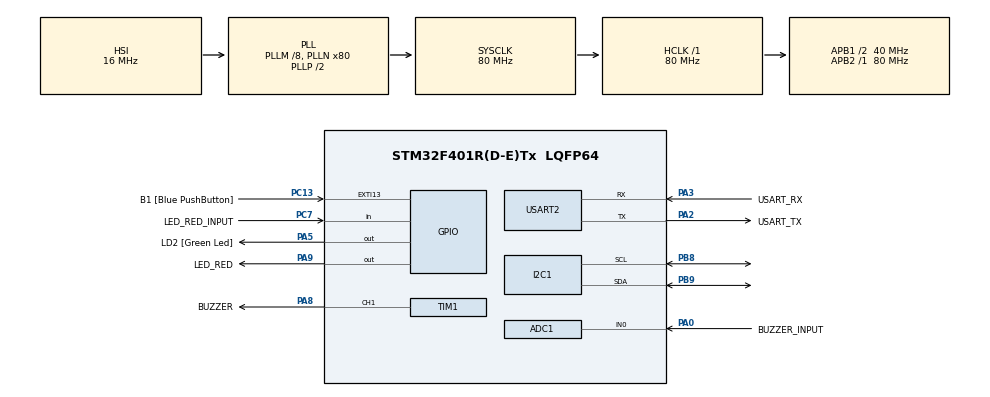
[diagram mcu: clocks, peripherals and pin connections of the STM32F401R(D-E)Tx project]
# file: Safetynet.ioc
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ADC1.Channel-0\#ChannelRegularConversion=ADC_CHANNEL_0
ADC1.NbrOfConversionFlag=1
ADC1.Rank-0\#ChannelRegularConversion=1
ADC1.SamplingTime-0\#ChannelRegularConversion=ADC_SAMPLETIME_480CYCLES
ADC1.master=1
Dma.Request0=USART2_RX
Dma.Request1=USART2_TX
Dma.USART2_RX.0.Direction=DMA_PERIPH_TO_MEMORY
Dma.USART2_RX.0.FIFOMode=DMA_FIFOMODE_DISABLE
Dma.USART2_RX.0.Instance=DMA1_Stream5
Dma.USART2_RX.0.MemDataAlignment=DMA_MDATAALIGN_BYTE
Dma.USART2_RX.0.MemInc=DMA_MINC_ENABLE
Dma.USART2_RX.0.Mode=DMA_CIRCULAR
Dma.USART2_RX.0.PeriphDataAlignment=DMA_PDATAALIGN_BYTE
Dma.USART2_RX.0.PeriphInc=DMA_PINC_DISABLE
Dma.USART2_RX.0.Priority=DMA_PRIORITY_HIGH
Dma.USART2_TX.1.Direction=DMA_MEMORY_TO_PERIPH
Dma.USART2_TX.1.FIFOMode=DMA_FIFOMODE_DISABLE
Dma.USART2_TX.1.Instance=DMA1_Stream6
Dma.USART2_TX.1.MemDataAlignment=DMA_MDATAALIGN_BYTE
Dma.USART2_TX.1.MemInc=DMA_MINC_ENABLE
Dma.USART2_TX.1.Mode=DMA_NORMAL
Dma.USART2_TX.1.PeriphDataAlignment=DMA_PDATAALIGN_BYTE
Dma.USART2_TX.1.PeriphInc=DMA_PINC_DISABLE
Dma.USART2_TX.1.Priority=DMA_PRIORITY_HIGH
IWDG.Prescaler=IWDG_PRESCALER_256
IWDG.Reload=249
Mcu.Family=STM32F4
Mcu.Name=STM32F401R(D-E)Tx
Mcu.Package=LQFP64
NVIC.DMA1_Stream5_IRQn=true\:0\:0\:false\:false\:true\:false\:true\:true
NVIC.DMA1_Stream6_IRQn=true\:0\:0\:false\:false\:true\:false\:true\:true
NVIC.PriorityGroup=NVIC_PRIORITYGROUP_4
NVIC.TIM2_IRQn=true\:0\:0\:false\:false\:true\:true\:true\:true
NVIC.USART2_IRQn=true\:0\:0\:false\:false\:true\:true\:true\:true
PA0-WKUP.GPIO_Label=BUZZER_INPUT
PA0-WKUP.Signal=SharedAnalog_PA0
PA13.GPIO_Label=TMS
PA13.Mode=Trace_Asynchronous_SW
PA13.Signal=SYS_JTMS-SWDIO
PA14.GPIO_Label=TCK
PA14.Mode=Trace_Asynchronous_SW
PA14.Signal=SYS_JTCK-SWCLK
PA2.GPIO_Label=USART_TX
PA2.GPIO_Mode=GPIO_MODE_AF_PP
PA2.GPIO_PuPd=GPIO_NOPULL
PA2.GPIO_Speed=GPIO_SPEED_FREQ_LOW
PA2.Mode=Asynchronous
PA2.Signal=USART2_TX
PA3.GPIO_Label=USART_RX
PA3.GPIO_Mode=GPIO_MODE_AF_PP
PA3.GPIO_PuPd=GPIO_NOPULL
PA3.GPIO_Speed=GPIO_SPEED_FREQ_LOW
PA3.Mode=Asynchronous
PA3.Signal=USART2_RX
PA5.GPIO_Label=LD2 [Green Led]
PA5.GPIO_Mode=GPIO_MODE_OUTPUT_PP
PA5.GPIO_PuPd=GPIO_NOPULL
PA5.GPIO_Speed=GPIO_SPEED_FREQ_LOW
PA5.Signal=GPIO_Output
PA8.GPIO_Label=BUZZER
PA8.Signal=S_TIM1_CH1
PA9.GPIO_Label=LED_RED
PA9.GPIO_ModeDefaultOutputPP=GPIO_MODE_OUTPUT_OD
PA9.GPIO_PuPd=GPIO_NOPULL
PA9.Signal=GPIO_Output
PB3.GPIO_Label=SWO
PB3.Mode=Trace_Asynchronous_SW
PB3.Signal=SYS_JTDO-SWO
PB8.Mode=I2C
PB8.Signal=I2C1_SCL
PB9.Mode=I2C
PB9.Signal=I2C1_SDA
PC13-ANTI_TAMP.GPIO_Label=B1 [Blue PushButton]
PC13-ANTI_TAMP.GPIO_ModeDefaultEXTI=GPIO_MODE_IT_FALLING
PC13-ANTI_TAMP.GPIO_PuPd=GPIO_NOPULL
PC13-ANTI_TAMP.Signal=GPXTI13
PC14-OSC32_IN.Mode=LSE-External-Oscillator
PC14-OSC32_IN.Signal=RCC_OSC32_IN
PC15-OSC32_OUT.Mode=LSE-External-Oscillator
PC15-OSC32_OUT.Signal=RCC_OSC32_OUT
PC7.GPIO_Label=LED_RED_INPUT
PC7.GPIO_PuPd=GPIO_PULLDOWN
PC7.Signal=GPIO_Input
PH0\ -\ OSC_IN.Mode=HSE-External-Clock-Source
PH0\ -\ OSC_IN.Signal=RCC_OSC_IN
PH1\ -\ OSC_OUT.Mode=HSE-External-Clock-Source
PH1\ -\ OSC_OUT.Signal=RCC_OSC_OUT
ProjectManager.HeapSize=0x400
ProjectManager.StackSize=0x800
ProjectManager.TargetToolchain=MDK-ARM V5.32
RCC.48MHZClocksFreq_Value=22857142.85714286
RCC.AHBFreq_Value=80000000
RCC.APB1CLKDivider=RCC_HCLK_DIV2
RCC.APB1Freq_Value=40000000
RCC.APB1TimFreq_Value=80000000
RCC.APB2Freq_Value=80000000
RCC.APB2TimFreq_Value=80000000
RCC.CortexFreq_Value=80000000
RCC.HCLKFreq_Value=80000000
RCC.HSE_VALUE=8000000
RCC.HSI_VALUE=16000000
RCC.PLLM=8
RCC.PLLN=80
RCC.PLLQ=7
RCC.SYSCLKFreq_VALUE=80000000
RCC.SYSCLKSource=RCC_SYSCLKSOURCE_PLLCLK
RCC.VCOOutputFreq_Value=160000000
SH.S_TIM1_CH1.0=TIM1_CH1,PWM Generation1 CH1
SH.SharedAnalog_PA0.0=GPIO_Analog
SH.SharedAnalog_PA0.1=ADC1_IN0,IN0
TIM1.Channel-PWM\ Generation1\ CH1=TIM_CHANNEL_1
TIM1.Period=7999
TIM1.Prescaler=79
TIM2.Period=99
TIM2.Prescaler=7999
USART2.VirtualMode=VM_ASYNC
VP_IWDG_VS_IWDG.Mode=IWDG_Activate
VP_TIM2_VS_ClockSourceINT.Mode=Internal
board=NUCLEO-F401RE

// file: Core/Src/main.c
/* USER CODE BEGIN Header */
/**
  ******************************************************************************
  * @file           : main.c
  * @brief          : Main program body
  ******************************************************************************
  * @attention
  *
  * Copyright (c) 2025 STMicroelectronics.
  * All rights reserved.
  *
  * This software is licensed under terms that can be found in the LICENSE file
  * in the root directory of this software component.
  * If no LICENSE file comes with this software, it is provided AS-IS.
  *
  ******************************************************************************
  */
/* USER CODE END Header */
#include "main.h"

/* USER CODE BEGIN Includes */
#include <stdio.h>
#include <string.h>
#include <stdbool.h>
#include "LED/LED.h"
#include "BUZZER/BUZZER.h"
#include "PCF8591T/PCF8591T.h"

#include <math.h>
/* USER CODE END Includes */

/* USER CODE BEGIN PTD */

// Define a function pointer type for command handler functions.
// These functions will process the payload of a received command.
typedef void (*CommandHandler)(uint8_t *data, uint16_t length);

// Struct to map a command code to its corresponding handler function.
typedef struct {
    uint8_t command;      // The command code (e.g., CMD_TOGGLE)
    CommandHandler handler; // Pointer to the function that handles this command
} CommandEntry;

// Enum for the UART reception state machine.
// This helps in parsing incoming data streams byte-by-byte.
typedef enum {
    ST_WAIT_SOF,  // Waiting for the Start of Frame (SOF) byte
    ST_WAIT_LEN,  // Waiting for the length byte
    ST_WAIT_BODY  // Waiting for the frame body (payload and CRC)
} RxParseState;

/* USER CODE END PTD */

/* USER CODE BEGIN PD */

// --- UART DMA Buffer Sizes ---
#define DMA_RX_BUF_SIZE 128
#define TX_BUF_SIZE     128
#define MAX_FRAME_LEN   64

// --- Protocol Defines ---
#define SOF_BYTE       0x7E // Start of Frame
#define TYPE_REQ       0x00 // 요청(Request) 타입
#define TYPE_RSP       0x01 // 응답(Response) 타입

// --- Command Codes ---
#define CMD_TOGGLE     0x10 // LED/Buzzer 토글 명령
#define CMD_CHK        0x11 // 주변장치 상태 확인 명령
#define CMD_IWDG_REQ   0x12 // IWDG 리셋 테스트 요청 명령

#define RX_BUF_SIZE 64

/* USER CODE END PD */

ADC_HandleTypeDef hadc1;

I2C_HandleTypeDef hi2c1;

IWDG_HandleTypeDef hiwdg;

TIM_HandleTypeDef htim1;
TIM_HandleTypeDef htim2;

UART_HandleTypeDef huart2;
DMA_HandleTypeDef hdma_usart2_rx;
DMA_HandleTypeDef hdma_usart2_tx;

/* USER CODE BEGIN PV */

// --- UART DMA Buffers ---
uint8_t dmaRxBuf[DMA_RX_BUF_SIZE];
uint8_t txBuf[TX_BUF_SIZE];
volatile uint16_t dmaRxHead = 0;

// --- Protocol-related Variables ---
static uint8_t rx_buf[MAX_FRAME_LEN]; // 수신된 프레임 데이터 저장 버퍼
static uint8_t rx_len = 0, rx_pos = 0;
static RxParseState rx_state = ST_WAIT_SOF;

// --- 'CHK' Command State Flags ---
static bool chk_pending = false;       // CHK 응답 전송이 대기 중인지 여부
static uint8_t chk_seq_pending;        // CHK 요청의 sequence number
static bool chk_led_done = false;      // LED 확인 완료 여부
static bool chk_buzzer_done = false;   // Buzzer 확인 완료 여부
static bool chk_temp_done = false;     // 온도 센서 확인 완료 여부
static bool chk_cds_done = false;      // 조도 센서 확인 완료 여부

// --- System Health & IWDG ---
volatile bool system_healthy = false;     // 시스템이 정상 동작 중인지 여부 (TIM2 콜백에서 주기적으로 set)
volatile bool iwdg_reset_requested = false; // 외부로부터 IWDG 리셋 요청 여부

/* USER CODE END PV */

void SystemClock_Config(void);
static void MX_GPIO_Init(void);
static void MX_DMA_Init(void);
static void MX_USART2_UART_Init(void);
static void MX_I2C1_Init(void);
static void MX_ADC1_Init(void);
static void MX_TIM1_Init(void);
static void MX_TIM2_Init(void);
static void MX_IWDG_Init(void);
/* USER CODE BEGIN PFP */
int fputc(int ch, FILE *f); // Function to redirect printf output to UART

// HAL Callbacks
void HAL_TIM_PeriodElapsedCallback(TIM_HandleTypeDef *htim); // Called when a timer period elapses
void HAL_UART_RxCpltCallback(UART_HandleTypeDef *huart);     // Called when UART reception is complete (not used here, using IDLE line instead)

// Command Handlers
void handle_toggle(uint8_t *data, uint16_t length);   // Handler for the TOGGLE command
void handle_chk(uint8_t *data, uint16_t length);       // Handler for the CHK command
void handle_iwdg_req(uint8_t *data, uint16_t length);  // Handler for the IWDG_REQ command

void process_received_data(uint8_t *data, uint16_t length); //test

// Protocol and Communication Functions
void start_uart_dma_rx(void); // Initializes and starts UART DMA reception with IDLE line detection
static void send_frame(uint8_t cmd, uint8_t seq, uint8_t type, const uint8_t *data, uint8_t data_len); // Constructs and sends a data frame

/* USER CODE END PFP */

/* USER CODE BEGIN 0 */
int fputc(int ch, FILE *f)
{
	uint8_t temp[1] ={ch};

	 //HAL_UART_Transmit (&huart2, temp,1,2);
	//HAL_UART_Transmit_DMA(&huart2, &temp, 1);
	return (ch);
}

/**
 * @brief  Tries to send the response for the CHK command.
 * @note   This function is called by the 'on_chk_..._done' callbacks. It checks if all
 * peripheral checks are complete. If so, it assembles the payload and sends
 * the response frame.
 */
void try_send_chk_rsp(void) {
    if (!chk_pending) return;
    if (!(chk_led_done && chk_buzzer_done && chk_temp_done && chk_cds_done)) return;

    // All checks are done, prepare the payload
    uint8_t payload[1+1+2+4]; // Payload: LED(1) + Buzzer(1) + CDS(2) + Temp(4)
    uint8_t *p = payload;

    *p++ = LED_GetCheckResult();
    *p++ = BUZZER_GetCheckResult();
    uint16_t cds = CDS_GetCheckResult();
    *p++ = cds & 0xFF;
    *p++ = (cds >> 8) & 0xFF;
    float temp = TEMP_GetCheckResult();
    memcpy(p, &temp, sizeof(temp));

    send_frame(CMD_CHK, chk_seq_pending, TYPE_RSP, payload, sizeof(payload));
    chk_pending = false;
}

// --- Callbacks for asynchronous peripheral checks ---
void on_chk_led_done(void)    { chk_led_done = true; try_send_chk_rsp(); }
void on_chk_buzzer_done(void) { chk_buzzer_done = true; try_send_chk_rsp(); }
void on_chk_temp_done(void)   { chk_temp_done = true; try_send_chk_rsp(); }
void on_chk_cds_done(void)    { chk_cds_done = true; try_send_chk_rsp(); }

/**
 * @brief  TIM period elapsed callback.
 * @note   This function is called by the HAL when a timer (here, TIM2) overflows.
 * It's used for periodic tasks.
 */
void HAL_TIM_PeriodElapsedCallback(TIM_HandleTypeDef *htim) {
    if (htim->Instance == TIM2) { // Check if it's the TIM2 interrupt

        // Call the timer-based processing functions for each peripheral module
        CDS_TimerCallback();
        TEMP_TimerCallback();
        LED_TimerCallback();
        BUZZER_TimerCallback();

        // If an IWDG reset is not pending, set the system_healthy flag.
        // This flag signals to the main loop that it's safe to refresh the watchdog.
        if (!iwdg_reset_requested) {
            system_healthy = true;
        }
    }
}

// Command dispatch table: maps command codes to their handler functions.
CommandEntry cmd_table[] = {
    { CMD_TOGGLE, handle_toggle },
    { CMD_CHK, handle_chk },
		 { CMD_IWDG_REQ, handle_iwdg_req }
};

/**
 * @brief  Handles the CMD_TOGGLE command.
 * @note   Toggles the LED, runs a buzzer sweep, and sends an acknowledgment response.
 */
void handle_toggle(uint8_t *data, uint16_t length) {
    LED_ProcessCommand("led toggle");
    BUZZER_ProcessCommand("buzz sweep");

	  uint8_t seq = rx_buf[1];
    uint8_t ack[] = { 0x01 };
    send_frame(CMD_TOGGLE, seq, TYPE_RSP, ack, sizeof(ack));

}

/**
 * @brief  Handles the CMD_CHK command.
 * @note   Initiates asynchronous checks for all peripherals and sets up callbacks.
 * The actual response is sent later by try_send_chk_rsp().
 */
void handle_chk(uint8_t *data, uint16_t length) {
    chk_led_done = chk_buzzer_done = chk_temp_done = chk_cds_done = false;

    LED_SetCheckDoneCallback(on_chk_led_done);
    BUZZER_SetCheckDoneCallback(on_chk_buzzer_done);
    TEMP_SetCheckDoneCallback(on_chk_temp_done);
    CDS_SetCheckDoneCallback(on_chk_cds_done);

    LED_ProcessCommand("led chk");
    BUZZER_ProcessCommand("buzz chk");
    TEMP_ProcessCommand("temp chk");
    CDS_ProcessCommand("cds chk");

    chk_seq_pending = rx_buf[1];
    chk_pending = true;
}

/**
 * @brief  Handles the CMD_IWDG_REQ command.
 * @note   Sets a flag to stop refreshing the IWDG, which will cause a system reset.
 * Sends an ACK before the reset occurs.
 */
void handle_iwdg_req(uint8_t *data, uint16_t length) {
    // Set flags to initiate the watchdog reset sequence in the main loop
    iwdg_reset_requested = true;
    system_healthy = false;

	  uint8_t seq = rx_buf[1];
    uint8_t ack[] = { 0x01 };
    send_frame(CMD_IWDG_REQ, seq, TYPE_RSP, ack, sizeof(ack));

}
/**
 * @brief  Initializes UART DMA reception with Idle Line interrupt.
 */
void start_uart_dma_rx(void) {
    // Clear the IDLE flag and enable the IDLE interrupt
    __HAL_UART_CLEAR_IDLEFLAG(&huart2);
    __HAL_UART_ENABLE_IT(&huart2, UART_IT_IDLE);

    // Start receiving data into the DMA buffer
    HAL_UART_Receive_DMA(&huart2, dmaRxBuf, DMA_RX_BUF_SIZE);
}

void process_received_data(uint8_t *data, uint16_t length) {
    if (length < 1) return;
    uint8_t cmd = data[0];
    for (int i = 0; i < sizeof(cmd_table)/sizeof(cmd_table[0]); i++) {
        if (cmd_table[i].command == cmd) {
            cmd_table[i].handler(&data[1], length - 1);
            return;
        }
    }
    snprintf((char *)txBuf, TX_BUF_SIZE, "UNKNOWN CMD: 0x%02X\r\n", cmd);
    HAL_UART_Transmit_DMA(&huart2, txBuf, strlen((char *)txBuf));
}

/**
 * @brief  Calculates the CRC-16 (Modbus) for a given buffer.
 * @param  buf Pointer to the data buffer.
 * @param  len Length of the data.
 * @retval The calculated 16-bit CRC value.
 */
static uint16_t calc_crc16(const uint8_t *buf, uint16_t len) {
    uint16_t crc = 0xFFFF;
    for (uint16_t i = 0; i < len; ++i) {
        crc ^= buf[i];
        for (uint8_t b = 0; b < 8; ++b) {
            if (crc & 1) crc = (crc >> 1) ^ 0xA001;
            else         crc >>= 1;
        }
    }
    return crc;
}

/**
 * @brief  Constructs a complete frame and sends it over UART using DMA.
 * @param  cmd The command code.
 * @param  seq The sequence number.
 * @param  type The frame type (Request or Response).
 * @param  data Pointer to the payload data.
 * @param  data_len Length of the payload data.
 */
static void send_frame(uint8_t cmd, uint8_t seq, uint8_t type,
                       const uint8_t *data, uint8_t data_len)
{
    uint8_t frame[1+1+1+1+1+data_len+2];
    uint8_t *p = frame;

    *p++ = SOF_BYTE;
    *p++ = (1+1+1+data_len+2);  // LEN = CMD+SEQ+TYPE+DATA+CRC
    *p++ = cmd;
    *p++ = seq;
    *p++ = type;
    if (data_len) {
        memcpy(p, data, data_len);
        p += data_len;
    }
    uint16_t crc = calc_crc16(&frame[2], 3 + data_len);
    *p++ = crc & 0xFF;
    *p++ = (crc >> 8) & 0xFF;

    HAL_UART_Transmit_DMA(&huart2, frame, p - frame);
}

/**
 * @brief  Parses a single byte from the UART stream using a state machine.
 * @note   This function is called from the UART ISR when data arrives.
 * When a complete, valid frame is received, it dispatches the command.
 */
void parse_byte(uint8_t b) {
    switch (rx_state) {
    case ST_WAIT_SOF:
        if (b == SOF_BYTE) {
            rx_state = ST_WAIT_LEN;
        }
        break;
    case ST_WAIT_LEN:
        rx_len  = b;
        rx_pos  = 0;
        rx_state = ST_WAIT_BODY;
        break;
    case ST_WAIT_BODY:
        if (rx_pos < rx_len && rx_pos < MAX_FRAME_LEN) {
            rx_buf[rx_pos++] = b;
        }
        if (rx_pos == rx_len) {
            // ?? ??
            uint16_t recv_crc = rx_buf[rx_len-2] | (rx_buf[rx_len-1] << 8);
            uint16_t calc     = calc_crc16(rx_buf, rx_len-2);
            if (recv_crc == calc) {
                uint8_t cmd  = rx_buf[0];
                uint8_t seq  = rx_buf[1];
                uint8_t type = rx_buf[2];
                uint8_t *data = &rx_buf[3];
                uint8_t data_len = rx_len - (1+1+1+2);

                if (type == TYPE_REQ) {
                    // ?? ??
                    if (cmd == CMD_TOGGLE) {
                        handle_toggle(data, data_len);
                    } else if (cmd == CMD_CHK) {
                        handle_chk(data, data_len);
                    } else if (cmd == CMD_IWDG_REQ){
												handle_iwdg_req(data, data_len);
										}
                }
            }
            // ?? ???
            rx_state = ST_WAIT_SOF;
        }
        break;
    }
}

/* USER CODE END 0 */

int main(void)
{

  /* MCU Configuration--------------------------------------------------------*/

  /* Reset of all peripherals, Initializes the Flash interface and the Systick. */
  HAL_Init();

  /* Configure the system clock */
  SystemClock_Config();

  /* Initialize all configured peripherals */
  MX_GPIO_Init();
  MX_DMA_Init();
  MX_USART2_UART_Init();
  MX_I2C1_Init();
  MX_ADC1_Init();
  MX_TIM1_Init();
  MX_TIM2_Init();
  MX_IWDG_Init();
  /* USER CODE BEGIN 2 */

	// printf("STM32 ready. Type 'hi' from PC.\r\n");

  // Initialize custom peripheral drivers
	LED_Init();
	BUZZER_Init();

  // Start TIM2 in interrupt mode for periodic tasks (e.g., watchdog feeding)
	HAL_TIM_Base_Start_IT(&htim2);

  // Start TIM1 PWM for the buzzer
	HAL_TIM_PWM_Start(&htim1, TIM_CHANNEL_1);

	// Start UART DMA reception
  start_uart_dma_rx();

  /* USER CODE END 2 */

  /* Infinite loop */
  /* USER CODE BEGIN WHILE */
  while (1)
  {
    // This logic handles the Independent Watchdog (IWDG).
    if (iwdg_reset_requested) {
        // If an IWDG reset has been requested via UART command:
        // - Enter a fast-blinking loop.
        // - Do NOT refresh the IWDG.
        // - This will cause the IWDG to time out and reset the MCU.
        HAL_GPIO_TogglePin(GPIOA, GPIO_PIN_5); // On-board LED
        HAL_Delay(200);
    } else {
        // Normal operation:
        // - Blink the LED at a slower rate to indicate normal functioning.
        HAL_GPIO_TogglePin(GPIOA, GPIO_PIN_5);
        HAL_Delay(500);

        // Check the health flag, which is set by the TIM2 interrupt.
        if (system_healthy) {
            HAL_IWDG_Refresh(&hiwdg); // Refresh (pet) the watchdog
            system_healthy = false;   // Clear the flag until the next timer tick
        }
    }
    /* USER CODE END WHILE */

  }
}

void SystemClock_Config(void)
{
  RCC_OscInitTypeDef RCC_OscInitStruct = {0};
  RCC_ClkInitTypeDef RCC_ClkInitStruct = {0};

  /** Configure the main internal regulator output voltage
  */
  __HAL_RCC_PWR_CLK_ENABLE();
  __HAL_PWR_VOLTAGESCALING_CONFIG(PWR_REGULATOR_VOLTAGE_SCALE2);

  /** Initializes the RCC Oscillators according to the specified parameters
  * in the RCC_OscInitTypeDef structure.
  */
  RCC_OscInitStruct.OscillatorType = RCC_OSCILLATORTYPE_HSI|RCC_OSCILLATORTYPE_LSI;
  RCC_OscInitStruct.HSIState = RCC_HSI_ON;
  RCC_OscInitStruct.HSICalibrationValue = RCC_HSICALIBRATION_DEFAULT;
  RCC_OscInitStruct.LSIState = RCC_LSI_ON;
  RCC_OscInitStruct.PLL.PLLState = RCC_PLL_ON;
  RCC_OscInitStruct.PLL.PLLSource = RCC_PLLSOURCE_HSI;
  RCC_OscInitStruct.PLL.PLLM = 8;
  RCC_OscInitStruct.PLL.PLLN = 80;
  RCC_OscInitStruct.PLL.PLLP = RCC_PLLP_DIV2;
  RCC_OscInitStruct.PLL.PLLQ = 7;
  if (HAL_RCC_OscConfig(&RCC_OscInitStruct) != HAL_OK)
  {
    Error_Handler();
  }

  /** Initializes the CPU, AHB and APB buses clocks
  */
  RCC_ClkInitStruct.ClockType = RCC_CLOCKTYPE_HCLK|RCC_CLOCKTYPE_SYSCLK
                              |RCC_CLOCKTYPE_PCLK1|RCC_CLOCKTYPE_PCLK2;
  RCC_ClkInitStruct.SYSCLKSource = RCC_SYSCLKSOURCE_PLLCLK;
  RCC_ClkInitStruct.AHBCLKDivider = RCC_SYSCLK_DIV1;
  RCC_ClkInitStruct.APB1CLKDivider = RCC_HCLK_DIV2;
  RCC_ClkInitStruct.APB2CLKDivider = RCC_HCLK_DIV1;

  if (HAL_RCC_ClockConfig(&RCC_ClkInitStruct, FLASH_LATENCY_2) != HAL_OK)
  {
    Error_Handler();
  }
}

static void MX_ADC1_Init(void)
{

  ADC_ChannelConfTypeDef sConfig = {0};

  /** Configure the global features of the ADC (Clock, Resolution, Data Alignment and number of conversion)
  */
  hadc1.Instance = ADC1;
  hadc1.Init.ClockPrescaler = ADC_CLOCK_SYNC_PCLK_DIV4;
  hadc1.Init.Resolution = ADC_RESOLUTION_12B;
  hadc1.Init.ScanConvMode = DISABLE;
  hadc1.Init.ContinuousConvMode = DISABLE;
  hadc1.Init.DiscontinuousConvMode = DISABLE;
  hadc1.Init.ExternalTrigConvEdge = ADC_EXTERNALTRIGCONVEDGE_NONE;
  hadc1.Init.ExternalTrigConv = ADC_SOFTWARE_START;
  hadc1.Init.DataAlign = ADC_DATAALIGN_RIGHT;
  hadc1.Init.NbrOfConversion = 1;
  hadc1.Init.DMAContinuousRequests = DISABLE;
  hadc1.Init.EOCSelection = ADC_EOC_SINGLE_CONV;
  if (HAL_ADC_Init(&hadc1) != HAL_OK)
  {
    Error_Handler();
  }

  /** Configure for the selected ADC regular channel its corresponding rank in the sequencer and its sample time.
  */
  sConfig.Channel = ADC_CHANNEL_0;
  sConfig.Rank = 1;
  sConfig.SamplingTime = ADC_SAMPLETIME_480CYCLES;
  if (HAL_ADC_ConfigChannel(&hadc1, &sConfig) != HAL_OK)
  {
    Error_Handler();
  }

}

static void MX_I2C1_Init(void)
{

  hi2c1.Instance = I2C1;
  hi2c1.Init.ClockSpeed = 100000;
  hi2c1.Init.DutyCycle = I2C_DUTYCYCLE_2;
  hi2c1.Init.OwnAddress1 = 0;
  hi2c1.Init.AddressingMode = I2C_ADDRESSINGMODE_7BIT;
  hi2c1.Init.DualAddressMode = I2C_DUALADDRESS_DISABLE;
  hi2c1.Init.OwnAddress2 = 0;
  hi2c1.Init.GeneralCallMode = I2C_GENERALCALL_DISABLE;
  hi2c1.Init.NoStretchMode = I2C_NOSTRETCH_DISABLE;
  if (HAL_I2C_Init(&hi2c1) != HAL_OK)
  {
    Error_Handler();
  }

}

static void MX_IWDG_Init(void)
{

  hiwdg.Instance = IWDG;
  hiwdg.Init.Prescaler = IWDG_PRESCALER_256;
  hiwdg.Init.Reload = 249;
  if (HAL_IWDG_Init(&hiwdg) != HAL_OK)
  {
    Error_Handler();
  }

}

static void MX_TIM1_Init(void)
{

  TIM_MasterConfigTypeDef sMasterConfig = {0};
  TIM_OC_InitTypeDef sConfigOC = {0};
  TIM_BreakDeadTimeConfigTypeDef sBreakDeadTimeConfig = {0};

  htim1.Instance = TIM1;
  htim1.Init.Prescaler = 79;
  htim1.Init.CounterMode = TIM_COUNTERMODE_UP;
  htim1.Init.Period = 7999;
  htim1.Init.ClockDivision = TIM_CLOCKDIVISION_DIV1;
  htim1.Init.RepetitionCounter = 0;
  htim1.Init.AutoReloadPreload = TIM_AUTORELOAD_PRELOAD_DISABLE;
  if (HAL_TIM_PWM_Init(&htim1) != HAL_OK)
  {
    Error_Handler();
  }
  sMasterConfig.MasterOutputTrigger = TIM_TRGO_RESET;
  sMasterConfig.MasterSlaveMode = TIM_MASTERSLAVEMODE_DISABLE;
  if (HAL_TIMEx_MasterConfigSynchronization(&htim1, &sMasterConfig) != HAL_OK)
  {
    Error_Handler();
  }
  sConfigOC.OCMode = TIM_OCMODE_PWM1;
  sConfigOC.Pulse = 0;
  sConfigOC.OCPolarity = TIM_OCPOLARITY_HIGH;
  sConfigOC.OCNPolarity = TIM_OCNPOLARITY_HIGH;
  sConfigOC.OCFastMode = TIM_OCFAST_DISABLE;
  sConfigOC.OCIdleState = TIM_OCIDLESTATE_RESET;
  sConfigOC.OCNIdleState = TIM_OCNIDLESTATE_RESET;
  if (HAL_TIM_PWM_ConfigChannel(&htim1, &sConfigOC, TIM_CHANNEL_1) != HAL_OK)
  {
    Error_Handler();
  }
  sBreakDeadTimeConfig.OffStateRunMode = TIM_OSSR_DISABLE;
  sBreakDeadTimeConfig.OffStateIDLEMode = TIM_OSSI_DISABLE;
  sBreakDeadTimeConfig.LockLevel = TIM_LOCKLEVEL_OFF;
  sBreakDeadTimeConfig.DeadTime = 0;
  sBreakDeadTimeConfig.BreakState = TIM_BREAK_DISABLE;
  sBreakDeadTimeConfig.BreakPolarity = TIM_BREAKPOLARITY_HIGH;
  sBreakDeadTimeConfig.AutomaticOutput = TIM_AUTOMATICOUTPUT_DISABLE;
  if (HAL_TIMEx_ConfigBreakDeadTime(&htim1, &sBreakDeadTimeConfig) != HAL_OK)
  {
    Error_Handler();
  }
  HAL_TIM_MspPostInit(&htim1);

}

static void MX_TIM2_Init(void)
{

  TIM_ClockConfigTypeDef sClockSourceConfig = {0};
  TIM_MasterConfigTypeDef sMasterConfig = {0};

  htim2.Instance = TIM2;
  htim2.Init.Prescaler = 7999;
  htim2.Init.CounterMode = TIM_COUNTERMODE_UP;
  htim2.Init.Period = 99;
  htim2.Init.ClockDivision = TIM_CLOCKDIVISION_DIV1;
  htim2.Init.AutoReloadPreload = TIM_AUTORELOAD_PRELOAD_DISABLE;
  if (HAL_TIM_Base_Init(&htim2) != HAL_OK)
  {
    Error_Handler();
  }
  sClockSourceConfig.ClockSource = TIM_CLOCKSOURCE_INTERNAL;
  if (HAL_TIM_ConfigClockSource(&htim2, &sClockSourceConfig) != HAL_OK)
  {
    Error_Handler();
  }
  sMasterConfig.MasterOutputTrigger = TIM_TRGO_RESET;
  sMasterConfig.MasterSlaveMode = TIM_MASTERSLAVEMODE_DISABLE;
  if (HAL_TIMEx_MasterConfigSynchronization(&htim2, &sMasterConfig) != HAL_OK)
  {
    Error_Handler();
  }

}

static void MX_USART2_UART_Init(void)
{

  huart2.Instance = USART2;
  huart2.Init.BaudRate = 115200;
  huart2.Init.WordLength = UART_WORDLENGTH_8B;
  huart2.Init.StopBits = UART_STOPBITS_1;
  huart2.Init.Parity = UART_PARITY_NONE;
  huart2.Init.Mode = UART_MODE_TX_RX;
  huart2.Init.HwFlowCtl = UART_HWCONTROL_NONE;
  huart2.Init.OverSampling = UART_OVERSAMPLING_16;
  if (HAL_UART_Init(&huart2) != HAL_OK)
  {
    Error_Handler();
  }

}

static void MX_DMA_Init(void)
{

  /* DMA controller clock enable */
  __HAL_RCC_DMA1_CLK_ENABLE();

  /* DMA interrupt init */
  /* DMA1_Stream5_IRQn interrupt configuration */
  HAL_NVIC_SetPriority(DMA1_Stream5_IRQn, 0, 0);
  HAL_NVIC_EnableIRQ(DMA1_Stream5_IRQn);
  /* DMA1_Stream6_IRQn interrupt configuration */
  HAL_NVIC_SetPriority(DMA1_Stream6_IRQn, 0, 0);
  HAL_NVIC_EnableIRQ(DMA1_Stream6_IRQn);

}

static void MX_GPIO_Init(void)
{
  GPIO_InitTypeDef GPIO_InitStruct = {0};

  /* GPIO Ports Clock Enable */
  __HAL_RCC_GPIOC_CLK_ENABLE();
  __HAL_RCC_GPIOH_CLK_ENABLE();
  __HAL_RCC_GPIOA_CLK_ENABLE();
  __HAL_RCC_GPIOB_CLK_ENABLE();

  /*Configure GPIO pin Output Level */
  HAL_GPIO_WritePin(GPIOA, LD2_Pin|LED_RED_Pin, GPIO_PIN_RESET);

  /*Configure GPIO pin : B1_Pin */
  GPIO_InitStruct.Pin = B1_Pin;
  GPIO_InitStruct.Mode = GPIO_MODE_IT_FALLING;
  GPIO_InitStruct.Pull = GPIO_NOPULL;
  HAL_GPIO_Init(B1_GPIO_Port, &GPIO_InitStruct);

  /*Configure GPIO pin : LD2_Pin */
  GPIO_InitStruct.Pin = LD2_Pin;
  GPIO_InitStruct.Mode = GPIO_MODE_OUTPUT_PP;
  GPIO_InitStruct.Pull = GPIO_NOPULL;
  GPIO_InitStruct.Speed = GPIO_SPEED_FREQ_LOW;
  HAL_GPIO_Init(LD2_GPIO_Port, &GPIO_InitStruct);

  /*Configure GPIO pin : LED_RED_INPUT_Pin */
  GPIO_InitStruct.Pin = LED_RED_INPUT_Pin;
  GPIO_InitStruct.Mode = GPIO_MODE_INPUT;
  GPIO_InitStruct.Pull = GPIO_PULLDOWN;
  HAL_GPIO_Init(LED_RED_INPUT_GPIO_Port, &GPIO_InitStruct);

  /*Configure GPIO pin : LED_RED_Pin */
  GPIO_InitStruct.Pin = LED_RED_Pin;
  GPIO_InitStruct.Mode = GPIO_MODE_OUTPUT_OD;
  GPIO_InitStruct.Pull = GPIO_NOPULL;
  GPIO_InitStruct.Speed = GPIO_SPEED_FREQ_LOW;
  HAL_GPIO_Init(LED_RED_GPIO_Port, &GPIO_InitStruct);

}

void Error_Handler(void)
{
  __disable_irq();
  while (1)
  {
  }
}
